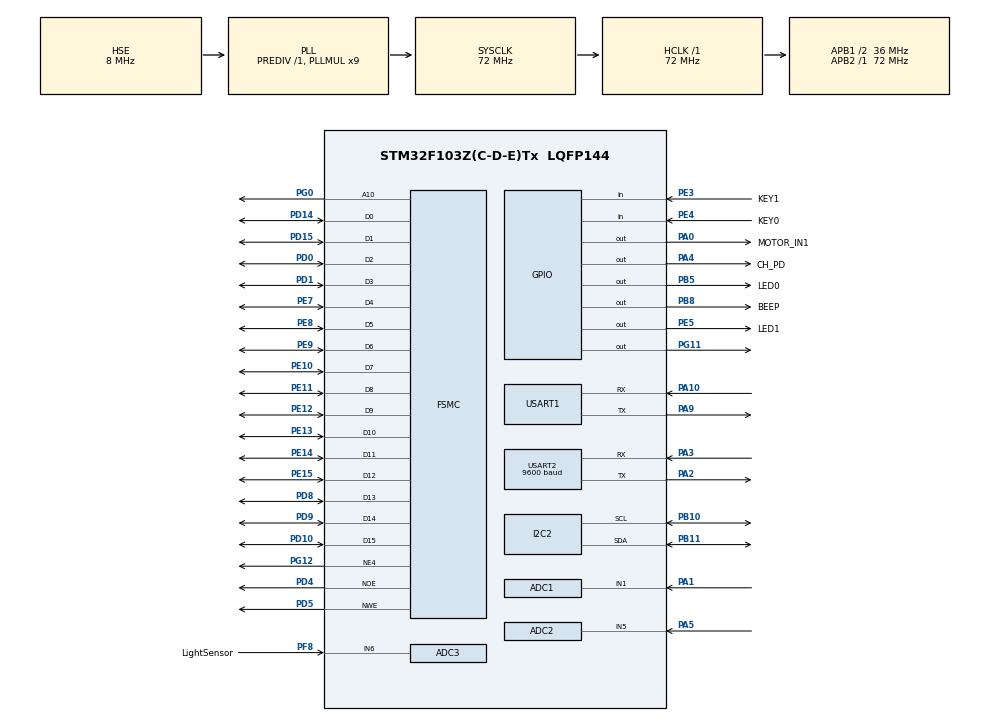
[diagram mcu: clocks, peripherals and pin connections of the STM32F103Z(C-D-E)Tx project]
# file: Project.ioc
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ADC1.Channel-3\#ChannelRegularConversion=ADC_CHANNEL_1
ADC1.NbrOfConversionFlag=1
ADC1.Rank-3\#ChannelRegularConversion=1
ADC1.SamplingTime-3\#ChannelRegularConversion=ADC_SAMPLETIME_1CYCLE_5
ADC1.master=1
ADC2.Channel-3\#ChannelRegularConversion=ADC_CHANNEL_5
ADC2.NbrOfConversionFlag=1
ADC2.Rank-3\#ChannelRegularConversion=1
ADC2.SamplingTime-3\#ChannelRegularConversion=ADC_SAMPLETIME_1CYCLE_5
ADC3.Channel-0\#ChannelRegularConversion=ADC_CHANNEL_6
ADC3.ContinuousConvMode=DISABLE
ADC3.NbrOfConversionFlag=1
ADC3.Rank-0\#ChannelRegularConversion=1
ADC3.SamplingTime-0\#ChannelRegularConversion=ADC_SAMPLETIME_1CYCLE_5
FREERTOS.Tasks01=SensorTask,24,128,StartSensorTask,Default,NULL,Dynamic,NULL,NULL;TFTLCDTask,8,128,StartTFTLCDTask,Default,NULL,Dynamic,NULL,NULL;SendDataTask,8,128,StartSendDataTask,Default,NULL,Dynamic,NULL,NULL;MotorTask,8,128,StartMotorTask,Default,NULL,Dynamic,NULL,NULL
FREERTOS.configGENERATE_RUN_TIME_STATS=1
FREERTOS.configRECORD_STACK_HIGH_ADDRESS=1
FSMC.AddressSetupTime1=2
FSMC.BusTurnAroundDuration1=0
FSMC.DataSetupTime1=16
FSMC.ExtendedAddressSetupTime1=4
FSMC.ExtendedDataSetupTime1=9
FSMC.ExtendedMode1=FSMC_EXTENDED_MODE_ENABLE
Mcu.Family=STM32F1
Mcu.Name=STM32F103Z(C-D-E)Tx
Mcu.Package=LQFP144
NVIC.PriorityGroup=NVIC_PRIORITYGROUP_4
NVIC.TIM4_IRQn=true\:15\:0\:false\:false\:true\:false\:false\:true\:true
NVIC.TimeBase=TIM4_IRQn
NVIC.TimeBaseIP=TIM4
OSC_IN.Mode=HSE-External-Oscillator
OSC_IN.Signal=RCC_OSC_IN
OSC_OUT.Mode=HSE-External-Oscillator
OSC_OUT.Signal=RCC_OSC_OUT
PA0-WKUP.GPIO_Label=MOTOR_IN1
PA0-WKUP.Signal=GPIO_Output
PA1.Signal=SharedAnalog_PA1
PA10.Mode=Asynchronous
PA10.Signal=USART1_RX
PA13.Mode=Serial_Wire
PA13.Signal=SYS_JTMS-SWDIO
PA14.Mode=Serial_Wire
PA14.Signal=SYS_JTCK-SWCLK
PA2.Mode=Asynchronous
PA2.Signal=USART2_TX
PA3.Mode=Asynchronous
PA3.Signal=USART2_RX
PA4.GPIO_Label=CH_PD
PA4.GPIO_Speed=GPIO_SPEED_FREQ_HIGH
PA4.PinState=GPIO_PIN_SET
PA4.Signal=GPIO_Output
PA5.Signal=SharedAnalog_PA5
PA9.Mode=Asynchronous
PA9.Signal=USART1_TX
PB10.Mode=I2C
PB10.Signal=I2C2_SCL
PB11.Mode=I2C
PB11.Signal=I2C2_SDA
PB5.GPIO_Label=LED0
PB5.Signal=GPIO_Output
PB8.GPIO_Label=BEEP
PB8.Signal=GPIO_Output
PD0.Signal=FSMC_D2_DA2
PD1.Signal=FSMC_D3_DA3
PD10.Signal=FSMC_D15_DA15
PD14.Signal=FSMC_D0_DA0
PD15.Signal=FSMC_D1_DA1
PD4.Signal=FSMC_NOE
PD5.Signal=FSMC_NWE
PD8.Signal=FSMC_D13_DA13
PD9.Signal=FSMC_D14_DA14
PE10.Signal=FSMC_D7_DA7
PE11.Signal=FSMC_D8_DA8
PE12.Signal=FSMC_D9_DA9
PE13.Signal=FSMC_D10_DA10
PE14.Signal=FSMC_D11_DA11
PE15.Signal=FSMC_D12_DA12
PE3.GPIO_Label=KEY1
PE3.GPIO_PuPd=GPIO_PULLUP
PE3.Signal=GPIO_Input
PE4.GPIO_Label=KEY0
PE4.GPIO_PuPd=GPIO_PULLUP
PE4.Signal=GPIO_Input
PE5.GPIO_Label=LED1
PE5.Signal=GPIO_Output
PE7.Signal=FSMC_D4_DA4
PE8.Signal=FSMC_D5_DA5
PE9.Signal=FSMC_D6_DA6
PF8.GPIO_Label=LightSensor
PF8.Mode=IN6
PF8.Signal=ADC3_IN6
PG0.Signal=FSMC_A10
PG11.Signal=GPIO_Output
PG12.Mode=NorPsramChipSelect4_1
PG12.Signal=FSMC_NE4
ProjectManager.HeapSize=0x200
ProjectManager.StackSize=0x400
ProjectManager.TargetToolchain=CMake
RCC.ADCPresc=RCC_ADCPCLK2_DIV6
RCC.AHBFreq_Value=72000000
RCC.APB1CLKDivider=RCC_HCLK_DIV2
RCC.APB1Freq_Value=36000000
RCC.APB1TimFreq_Value=72000000
RCC.APB2Freq_Value=72000000
RCC.APB2TimFreq_Value=72000000
RCC.HCLKFreq_Value=72000000
RCC.PLLMUL=RCC_PLL_MUL9
RCC.PLLSourceVirtual=RCC_PLLSOURCE_HSE
RCC.SYSCLKFreq_VALUE=72000000
RCC.SYSCLKSource=RCC_SYSCLKSOURCE_PLLCLK
RCC.USBFreq_Value=72000000
SH.FSMC_A10.0=FSMC_A10,A10_1
SH.FSMC_D0_DA0.0=FSMC_D0,16b-d1
SH.FSMC_D10_DA10.0=FSMC_D10,16b-d1
SH.FSMC_D11_DA11.0=FSMC_D11,16b-d1
SH.FSMC_D12_DA12.0=FSMC_D12,16b-d1
SH.FSMC_D13_DA13.0=FSMC_D13,16b-d1
SH.FSMC_D14_DA14.0=FSMC_D14,16b-d1
SH.FSMC_D15_DA15.0=FSMC_D15,16b-d1
SH.FSMC_D1_DA1.0=FSMC_D1,16b-d1
SH.FSMC_D2_DA2.0=FSMC_D2,16b-d1
SH.FSMC_D3_DA3.0=FSMC_D3,16b-d1
SH.FSMC_D4_DA4.0=FSMC_D4,16b-d1
SH.FSMC_D5_DA5.0=FSMC_D5,16b-d1
SH.FSMC_D6_DA6.0=FSMC_D6,16b-d1
SH.FSMC_D7_DA7.0=FSMC_D7,16b-d1
SH.FSMC_D8_DA8.0=FSMC_D8,16b-d1
SH.FSMC_D9_DA9.0=FSMC_D9,16b-d1
SH.FSMC_NOE.0=FSMC_NOE,Lcd1
SH.FSMC_NWE.0=FSMC_NWE,Lcd1
SH.SharedAnalog_PA1.0=GPIO_Analog
SH.SharedAnalog_PA1.1=ADC1_IN1,IN1
SH.SharedAnalog_PA5.0=GPIO_Analog
SH.SharedAnalog_PA5.1=ADC2_IN5,IN5
USART1.VirtualMode=VM_ASYNC
USART2.BaudRate=9600
USART2.VirtualMode=VM_ASYNC
VP_FREERTOS_VS_CMSIS_V2.Mode=CMSIS_V2
VP_SYS_VS_tim4.Mode=TIM4
board=custom

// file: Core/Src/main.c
/* USER CODE BEGIN Header */
/**
  ******************************************************************************
  * @file           : main.c
  * @brief          : Main program body
  ******************************************************************************
  * @attention
  *
  * Copyright (c) 2026 STMicroelectronics.
  * All rights reserved.
  *
  * This software is licensed under terms that can be found in the LICENSE file
  * in the root directory of this software component.
  * If no LICENSE file comes with this software, it is provided AS-IS.
  *
  ******************************************************************************
  */
/* USER CODE END Header */
#include "main.h"
#include "cmsis_os.h"
#include "adc.h"
#include "i2c.h"
#include "usart.h"
#include "gpio.h"
#include "fsmc.h"

/* USER CODE BEGIN Includes */
#include <string.h>
#include "aht20.h"
#include "tftlcd.h"

/* USER CODE END Includes */

void SystemClock_Config(void);
void MX_FREERTOS_Init(void);
/* USER CODE BEGIN PFP */

HAL_StatusTypeDef ESP8266_SendCmd(char *cmd, char *resp, uint32_t timeout_ms);
void ESP8266_Reconnect_VOFA(void);

/* USER CODE END PFP */

int main(void)
{

  /* MCU Configuration--------------------------------------------------------*/

  /* Reset of all peripherals, Initializes the Flash interface and the Systick. */
  HAL_Init();

  /* Configure the system clock */
  SystemClock_Config();

  /* Initialize all configured peripherals */
  MX_GPIO_Init();
  MX_FSMC_Init();
  MX_USART1_UART_Init();
  MX_ADC1_Init();
  MX_ADC3_Init();
  MX_USART2_UART_Init();
  MX_ADC2_Init();
  MX_I2C2_Init();
  /* USER CODE BEGIN 2 */
  TFTLCD_Init();
  FRONT_COLOR = RED;   // 前景色为红色
  BACK_COLOR = WHITE;  // 背景色为白色

  //HAL_GPIO_WritePin(CH_PD_GPIO_Port, CH_PD_Pin, GPIO_PIN_SET); // 拉高使能
  // HAL_Delay(300); // 等待 ESP8266 启动
  // ESP8266_Reconnect_VOFA();// 连接到 VOFA+ 服务器

  /* USER CODE END 2 */

  /* Init scheduler */
  osKernelInitialize();  /* Call init function for freertos objects (in cmsis_os2.c) */
  MX_FREERTOS_Init();

  /* Start scheduler */
  osKernelStart();

  /* We should never get here as control is now taken by the scheduler */

  /* Infinite loop */
  while (1)
  {

  }
}

void SystemClock_Config(void)
{
  RCC_OscInitTypeDef RCC_OscInitStruct = {0};
  RCC_ClkInitTypeDef RCC_ClkInitStruct = {0};
  RCC_PeriphCLKInitTypeDef PeriphClkInit = {0};

  /** Initializes the RCC Oscillators according to the specified parameters
  * in the RCC_OscInitTypeDef structure.
  */
  RCC_OscInitStruct.OscillatorType = RCC_OSCILLATORTYPE_HSE;
  RCC_OscInitStruct.HSEState = RCC_HSE_ON;
  RCC_OscInitStruct.HSEPredivValue = RCC_HSE_PREDIV_DIV1;
  RCC_OscInitStruct.HSIState = RCC_HSI_ON;
  RCC_OscInitStruct.PLL.PLLState = RCC_PLL_ON;
  RCC_OscInitStruct.PLL.PLLSource = RCC_PLLSOURCE_HSE;
  RCC_OscInitStruct.PLL.PLLMUL = RCC_PLL_MUL9;
  if (HAL_RCC_OscConfig(&RCC_OscInitStruct) != HAL_OK)
  {
    Error_Handler();
  }

  /** Initializes the CPU, AHB and APB buses clocks
  */
  RCC_ClkInitStruct.ClockType = RCC_CLOCKTYPE_HCLK|RCC_CLOCKTYPE_SYSCLK
                              |RCC_CLOCKTYPE_PCLK1|RCC_CLOCKTYPE_PCLK2;
  RCC_ClkInitStruct.SYSCLKSource = RCC_SYSCLKSOURCE_PLLCLK;
  RCC_ClkInitStruct.AHBCLKDivider = RCC_SYSCLK_DIV1;
  RCC_ClkInitStruct.APB1CLKDivider = RCC_HCLK_DIV2;
  RCC_ClkInitStruct.APB2CLKDivider = RCC_HCLK_DIV1;

  if (HAL_RCC_ClockConfig(&RCC_ClkInitStruct, FLASH_LATENCY_2) != HAL_OK)
  {
    Error_Handler();
  }
  PeriphClkInit.PeriphClockSelection = RCC_PERIPHCLK_ADC;
  PeriphClkInit.AdcClockSelection = RCC_ADCPCLK2_DIV6;
  if (HAL_RCCEx_PeriphCLKConfig(&PeriphClkInit) != HAL_OK)
  {
    Error_Handler();
  }
}

/* USER CODE BEGIN 4 */

HAL_StatusTypeDef ESP8266_SendCmd(char *cmd, char *resp, uint32_t timeout_ms) {
  // 清空接收缓冲区
  uint8_t dummy;
  while (HAL_UART_Receive(&huart2, &dummy, 1, 1) == HAL_OK);

  // 发送命令
  HAL_UART_Transmit(&huart1, (uint8_t*)cmd, strlen(cmd), 1000);
  if (HAL_UART_Transmit(&huart2, (uint8_t*)cmd, strlen(cmd), HAL_MAX_DELAY)==HAL_OK)
    {
    LCD_ShowString(10, 400, 200, 30, 16, (u8*)"Sendsuccess");
    }

  HAL_Delay(200); // 增加延时

  // 接收响应
  uint8_t rx_buf[256] = {0};//sizeof(rx_buf)-1
  if (HAL_UART_Receive(&huart2, rx_buf,2 , HAL_MAX_DELAY) == HAL_OK) {
    // 显示实际收到的内容（用于调试）
    LCD_Fill(10, 270, 300, 290, WHITE);  // 清除区域
    LCD_ShowString(10, 270, 200, 20, 12, rx_buf);

    if (resp && strstr((char*)rx_buf, resp)) {
      return HAL_OK;
    }
  }
  return HAL_ERROR;
}

void ESP8266_Reconnect_VOFA(void) {
  LCD_ShowString(10, 30, 300, 20, 16, (u8*)"ESP INIT...");

  // 1. 检查串口连接
  LCD_ShowString(10, 50, 300, 20, 16, (u8*)"TEST UART...");
  if (ESP8266_SendCmd("AT\r\n", "OK", 1000) == HAL_OK) {
    LCD_ShowString(10, 70, 300, 20, 16, (u8*)"UART OK!");
    goto continue_config;  // 如果串口正常，直接配置
  }

  LCD_ShowString(10, 70, 300, 20, 16, (u8*)"UART FAIL");

  // 2. 硬件重启 ESP8266
  LCD_ShowString(10, 90, 300, 20, 16, (u8*)"RESETTING...");

  // 拉低 CH_PD 重启
  HAL_GPIO_WritePin(CH_PD_GPIO_Port, CH_PD_Pin, GPIO_PIN_RESET);
  HAL_Delay(1000);  // 保持低电平
  HAL_GPIO_WritePin(CH_PD_GPIO_Port, CH_PD_Pin, GPIO_PIN_SET);
  HAL_Delay(3000);  // 等待启动（增加等待时间）

  // 3. 再次测试 AT 命令
  if (ESP8266_SendCmd("AT\r\n", "OK", 2000) == HAL_OK) {
    LCD_ShowString(10, 110, 300, 20, 16, (u8*)"RESET OK!");
  } else {
    LCD_ShowString(10, 110, 300, 20, 16, (u8*)"HARDWARE ERROR!");
    LCD_ShowString(10, 130, 300, 20, 16, (u8*)"CHECK WIRING!");
    return;
  }

continue_config:
  // 4. 设置为 STA 模式
  LCD_ShowString(10, 130, 300, 20, 16, (u8*)"SET STA MODE...");
  if (ESP8266_SendCmd("AT+CWMODE=1\r\n", "OK", 1000) != HAL_OK) {
    LCD_ShowString(10, 150, 300, 20, 16, (u8*)"CWMODE FAIL");
    return;
  }

  // 5. 连接 WiFi
  LCD_ShowString(10, 150, 300, 20, 16, (u8*)"CONNECT WIFI...");
  if (ESP8266_SendCmd("AT+CWJAP=\"uva\",\"12345678\"\r\n", "WIFI GOT IP", 10000) != HAL_OK) {
    LCD_ShowString(10, 170, 300, 20, 16, (u8*)"WIFI FAIL");
    return;
  }

  // 6. TCP 连接
  LCD_ShowString(10, 170, 300, 20, 16, (u8*)"TCP CONNECT...");
  if (ESP8266_SendCmd("AT+CIPSTART=\"TCP\",\"192.168.94.154\",8888\r\n", "CONNECT", 5000) != HAL_OK) {
    LCD_ShowString(10, 190, 300, 20, 16, (u8*)"TCP FAIL");
    return;
  }

  // 7. 进入透传模式
  LCD_ShowString(10, 190, 300, 20, 16, (u8*)"ENTER TRANSMIT...");
  if (ESP8266_SendCmd("AT+CIPMODE=1\r\n", "OK", 1000) != HAL_OK) {
    LCD_ShowString(10, 210, 300, 20, 16, (u8*)"CIPMODE FAIL");
    return;
  }

  if (ESP8266_SendCmd("AT+CIPSEND\r\n", ">", 1000) != HAL_OK) {
    LCD_ShowString(10, 230, 300, 20, 16, (u8*)"CIPSEND FAIL");
    return;
  }

  LCD_ShowString(10, 250, 300, 20, 16, (u8*)"ESP OK!");
}

/* USER CODE END 4 */

void HAL_TIM_PeriodElapsedCallback(TIM_HandleTypeDef *htim)
{
  if (htim->Instance == TIM4)
  {
    HAL_IncTick();
  }
}

void Error_Handler(void)
{
  __disable_irq();
  while (1)
  {
  }
}

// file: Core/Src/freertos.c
/* USER CODE BEGIN Header */
/**
  ******************************************************************************
  * File Name          : freertos.c
  * Description        : Code for freertos applications
  ******************************************************************************
  * @attention
  *
  * Copyright (c) 2026 STMicroelectronics.
  * All rights reserved.
  *
  * This software is licensed under terms that can be found in the LICENSE file
  * in the root directory of this software component.
  * If no LICENSE file comes with this software, it is provided AS-IS.
  *
  ******************************************************************************
  */
/* USER CODE END Header */

#include "FreeRTOS.h"
#include "task.h"
#include "main.h"
#include "cmsis_os.h"

/* USER CODE BEGIN Includes */
#include <stdio.h>
#include <stdlib.h>
#include <string.h>

#include "adc.h"
#include "usart.h"
#include "tftlcd.h"
#include "aht20.h"

/* USER CODE END Includes */

/* USER CODE BEGIN PD */

uint8_t temp_ready=0;
uint8_t light_ready=0;
uint8_t solim_ready=0;
uint8_t air_ready=0;

uint8_t key0_flag=0;
uint8_t key1_flag=0;
Sensor sensordata;

/* USER CODE END PD */

/* Definitions for SensorTask */
osThreadId_t SensorTaskHandle;
const osThreadAttr_t SensorTask_attributes = {
  .name = "SensorTask",
  .stack_size = 128 * 4,
  .priority = (osPriority_t) osPriorityNormal,
};
/* Definitions for TFTLCDTask */
osThreadId_t TFTLCDTaskHandle;
const osThreadAttr_t TFTLCDTask_attributes = {
  .name = "TFTLCDTask",
  .stack_size = 128 * 4,
  .priority = (osPriority_t) osPriorityLow,
};
/* Definitions for SendDataTask */
osThreadId_t SendDataTaskHandle;
const osThreadAttr_t SendDataTask_attributes = {
  .name = "SendDataTask",
  .stack_size = 128 * 4,
  .priority = (osPriority_t) osPriorityLow,
};
/* Definitions for MotorTask */
osThreadId_t MotorTaskHandle;
const osThreadAttr_t MotorTask_attributes = {
  .name = "MotorTask",
  .stack_size = 128 * 4,
  .priority = (osPriority_t) osPriorityLow,
};

/* USER CODE BEGIN FunctionPrototypes */
void KEY_SCAN();
/* USER CODE END FunctionPrototypes */

void StartSensorTask(void *argument);
void StartTFTLCDTask(void *argument);
void StartSendDataTask(void *argument);
void StartMotorTask(void *argument);

void MX_FREERTOS_Init(void); /* (MISRA C 2004 rule 8.1) */

/* Hook prototypes */
void configureTimerForRunTimeStats(void);
unsigned long getRunTimeCounterValue(void);

/* USER CODE BEGIN 1 */
/* Functions needed when configGENERATE_RUN_TIME_STATS is on */
__weak void configureTimerForRunTimeStats(void)
{

}

__weak unsigned long getRunTimeCounterValue(void)
{
return 0;
}
/* USER CODE END 1 */

void MX_FREERTOS_Init(void) {

  /* Create the thread(s) */
  /* creation of SensorTask */
  SensorTaskHandle = osThreadNew(StartSensorTask, NULL, &SensorTask_attributes);

  /* creation of TFTLCDTask */
  TFTLCDTaskHandle = osThreadNew(StartTFTLCDTask, NULL, &TFTLCDTask_attributes);

  /* creation of SendDataTask */
  SendDataTaskHandle = osThreadNew(StartSendDataTask, NULL, &SendDataTask_attributes);

  /* creation of MotorTask */
  MotorTaskHandle = osThreadNew(StartMotorTask, NULL, &MotorTask_attributes);

}

void StartSensorTask(void *argument)
{
  /* USER CODE BEGIN StartSensorTask */
  /* Infinite loop */
  static uint8_t aht20_initialized = 0;
  AHT20_StatusTypeDef aht20_status;
  AHT20_DataTypeDef aht20_data;

  /* Infinite loop */

  if (HAL_ADCEx_Calibration_Start(&hadc1)!=HAL_OK)
  {
    Error_Handler();
  }
  if (HAL_ADCEx_Calibration_Start(&hadc2)!=HAL_OK)
  {
    Error_Handler();
  }
  if (HAL_ADCEx_Calibration_Start(&hadc3)!=HAL_OK)
  {
    Error_Handler();
  }

  for(;;)
  {

    if (HAL_ADC_Start(&hadc1)!=HAL_OK)
    {Error_Handler();}
    if (HAL_ADC_Start(&hadc2)!=HAL_OK)
    {Error_Handler();}
    if (HAL_ADC_Start(&hadc3)!=HAL_OK)
    {Error_Handler();}

    if (HAL_ADC_PollForConversion(&hadc1,500)==HAL_OK)
    {
      sensordata.raw_temp=HAL_ADC_GetValue(&hadc1); //获取ADC值
      sensordata.temp_voltage=sensordata.raw_temp*3.3/4095.0*1000; //计算电压值，单位mv
      sensordata.Temperature = (uint32_t)(Calculate_NTC_Temperature(sensordata.raw_temp) * 100); //计算温度值，单位摄氏度
      temp_ready=1;
    }
    else
    {Error_Handler();}

    //读取土壤湿度传感器数据
    if (HAL_ADC_PollForConversion(&hadc2,500)==HAL_OK)
    {
      sensordata.raw_soilm=HAL_ADC_GetValue(&hadc2); //获取ADC值
      sensordata.soilm_voltage=sensordata.raw_soilm*3.3/4095.0*1000; //计算电压值，单位mv
      sensordata.SoilMoisture = (uint32_t)(Calculate_Soil_Moisture(sensordata.raw_soilm) * 100); //计算土壤湿度
      solim_ready=1;
    }
    else
    {Error_Handler();}

    //读取光照传感器数据

    if (HAL_ADC_PollForConversion(&hadc3,500)==HAL_OK)
    {
      sensordata.raw_light=HAL_ADC_GetValue(&hadc3); //获取ADC值
      sensordata.light_voltage=sensordata.raw_light*3.3/4095.0*1000; //计算电压值，单位mv
      sensordata.Illumination = (uint32_t)(Calculate_Light_Intensity(sensordata.raw_light) * 100); //计算温度值，单位摄氏度
      light_ready=1;
    }
    else
    {Error_Handler();}

    if (!aht20_initialized) {
      // 尝试初始化 AHT20
      aht20_status = AHT20_Init();
      if (aht20_status == AHT20_OK) {
        aht20_initialized = 1; // 标记为已初始化
      } else {
        // 初始化失败，可以选择重试或记录错误
        // 这里简单地将数据置0并标记就绪，以便上层处理
        sensordata.AirTemperature = 0;
        sensordata.AirHumidity = 0;
        air_ready = 1;
      }
    }

    if (aht20_initialized) {
      // 触发测量
      aht20_status = AHT20_TriggerMeasurement();
      if (aht20_status == AHT20_OK) {
        osDelay(80); // 等待至少75ms让测量完成
        // 读取数据
        aht20_status = AHT20_ReadData(&aht20_data);
        if (aht20_status == AHT20_OK) {
          // 将 float 数据转换为 uint32_t (*100)，与其他传感器格式统一
          sensordata.AirTemperature = (uint32_t)(aht20_data.temperature * 100.0f);
          sensordata.AirHumidity = (uint32_t)(aht20_data.humidity * 100.0f);
          air_ready = 1; // 标记数据已就绪
        } else {
          // 读取失败，可以保留上次值或置0
          // 这里选择置0
          sensordata.AirTemperature = 0;
          sensordata.AirHumidity = 0;
          air_ready = 1;
        }
      } else {
        // 触发测量失败
        sensordata.AirTemperature = 0;
        sensordata.AirHumidity = 0;
        air_ready = 1;
      }
    }

    osDelay(300);
  }

  /* USER CODE END StartSensorTask */
}

void StartTFTLCDTask(void *argument)
{
  /* USER CODE BEGIN StartTFTLCDTask */
  static char message[50]={};
  uint32_t temp_tick=osKernelGetTickCount();
  /* Infinite loop */
  for(;;)
  {
    temp_tick+=50;
    // 使用的是 STM32 的标准库（非 CMSIS 或 FPU 支持），而 sprintf() 不支持浮点数！
    // 在没有启用 FPU（浮点单元）的 STM32 上，标准 printf / sprintf 默认不支持 %f 格式符！

    //显示温度传感器数据
    sprintf(message, "Raw_temp:%lu mV\r\n", sensordata.raw_temp);
    LCD_ShowString(10,10,300, 30, 16, (u8*)message);

    sprintf(message, "Temp_voltage:%lu mV\r\n", sensordata.temp_voltage);
    LCD_ShowString(10,30,300, 30, 16, (u8*)message);

    sprintf(message, "Temperature:%ld.%02ld C\r\n",
    sensordata.Temperature / 100, abs(sensordata.Temperature % 100));
    LCD_ShowString(10,50,300, 30, 16, (u8*)message);

    //显示土壤湿度传感器数据
    sprintf(message, "Raw_soilm:%lu mV\r\n", sensordata.raw_soilm);
    LCD_ShowString(10,70,300, 30, 16, (u8*)message);

    sprintf(message, "Raw_soilm:%lu mV\r\n", sensordata.soilm_voltage);
    LCD_ShowString(10,90,300, 30, 16, (u8*)message);

    sprintf(message, "Soil_Moisture:%ld \r\n",
        sensordata.SoilMoisture / 100);
    LCD_ShowString(10,110,300, 30, 16, (u8*)message);

    // 65~95 湿润
    //>95 过于湿润
    //<65 干燥
    if (sensordata.SoilMoisture / 100 <65)
    {
      LCD_ShowString(10, 250, 300, 20, 16, (u8*)"Soil is Dry   ");
    }
    else if (sensordata.SoilMoisture / 100 >95)
    {
      LCD_ShowString(10, 250, 300, 20, 16, (u8*)"Soil is Wet   ");
    }
    else
    {
      LCD_ShowString(10, 250, 300, 20, 16, (u8*)"Soil is Humid ");
    }

    //显示光照传感器数据
    sprintf(message, "Raw_light:%lu mV\r\n", sensordata.raw_light);
    LCD_ShowString(10,130,300, 30, 16, (u8*)message);

    sprintf(message, "Light_voltage:%lu mV\r\n", sensordata.light_voltage);
    LCD_ShowString(10,150,300, 30, 16, (u8*)message);
    sprintf(message, "Illumination:%ld.%02ld Lux\r\n",
            sensordata.Illumination / 100, abs(sensordata.Illumination % 100));

    LCD_ShowString(10,170,300, 30, 16, (u8*)message);

    sprintf(message, "Air_Temp:%ld.%02ld C\r\n", sensordata.AirTemperature / 100, abs(sensordata.AirTemperature % 100));
    LCD_ShowString(10, 190, 300, 30, 16, (u8*)message);

    sprintf(message, "Air_Humi:%ld.%02ld %%\r\n", sensordata.AirHumidity / 100, abs(sensordata.AirHumidity % 100));
    LCD_ShowString(10, 210, 300, 30, 16, (u8*)message);

    osDelayUntil(temp_tick);
    //osDelay(100);
  }
  /* USER CODE END StartTFTLCDTask */
}

void StartSendDataTask(void *argument)
{
  /* USER CODE BEGIN StartSendDataTask */
  static char message[50]={};
  /* Infinite loop */
  for(;;)
  {
    if (temp_ready) {
      //传输原始温度数据
      sprintf(message, "Raw_temp:%lu mV\r\n", sensordata.raw_temp);
      HAL_UART_Transmit(&huart2, (uint8_t*)message, strlen(message), 1000);
      //传输温度传感器电压数据
      sprintf(message, "Temp_voltage:%lu mV\r\n", sensordata.temp_voltage);
      HAL_UART_Transmit(&huart2, (uint8_t*)message, strlen(message), 1000);
      //传输计算后的温度数据
      sprintf(message, "Temperature:%ld.%02ld C\r\n",
    sensordata.Temperature / 100, abs(sensordata.Temperature % 100));
      HAL_UART_Transmit(&huart1, (uint8_t*)message, strlen(message), 1000);
      HAL_UART_Transmit(&huart2, (uint8_t*)message, strlen(message), 1000);

      temp_ready = 0;
    }
    // 65~95 湿润
    //>95 过于湿润
    //<65 干燥
    if (solim_ready) {
      //传输原始土壤湿度数据
      sprintf(message, "Raw_soilm:%lu mV\r\n", sensordata.raw_soilm);
      HAL_UART_Transmit(&huart2, (uint8_t*)message, strlen(message), 1000);
      //传输土壤湿度传感器电压数据
      sprintf(message, "Soilm_voltage:%lu mV\r\n", sensordata.soilm_voltage);
      HAL_UART_Transmit(&huart2, (uint8_t*)message, strlen(message), 1000);
      //传输计算后的土壤湿度数据
      sprintf(message, "Soil_Moisture:%ld \r\n",
          sensordata.SoilMoisture / 100);
      HAL_UART_Transmit(&huart1, (uint8_t*)message, strlen(message), 1000);
      HAL_UART_Transmit(&huart2, (uint8_t*)message, strlen(message), 1000);
      solim_ready = 0;
    }

    if (light_ready) {
      //传输原始光照数据
      sprintf(message, "Raw_light:%lu mV\r\n", sensordata.raw_light);
      HAL_UART_Transmit(&huart2, (uint8_t*)message, strlen(message), 1000);
      //传输光照传感器电压数据
      sprintf(message, "Light_voltage:%lu mV\r\n", sensordata.light_voltage);
      HAL_UART_Transmit(&huart2, (uint8_t*)message, strlen(message), 1000);
      //传输计算后的光照数据
      sprintf(message, "Illumination:%ld.%02ld Lux\r\n",
          sensordata.Illumination / 100, abs(sensordata.Illumination % 100));
      HAL_UART_Transmit(&huart1, (uint8_t*)message, strlen(message), 1000);
      HAL_UART_Transmit(&huart2, (uint8_t*)message, strlen(message), 1000);
      light_ready = 0;
    }

    if (air_ready) {
      sprintf(message, "Air_Temperature:%ld.%02ld C\r\n", sensordata.AirTemperature / 100, abs(sensordata.AirTemperature % 100));
      HAL_UART_Transmit(&huart1, (uint8_t*)message, strlen(message), 1000);
      HAL_UART_Transmit(&huart2, (uint8_t*)message, strlen(message), 1000);

      sprintf(message, "Air_Humidity:%ld.%02ld %%\r\n", sensordata.AirHumidity / 100, abs(sensordata.AirHumidity % 100));
      HAL_UART_Transmit(&huart1, (uint8_t*)message, strlen(message), 1000);
      HAL_UART_Transmit(&huart2, (uint8_t*)message, strlen(message), 1000);

      air_ready = 0; // 清除标志
    }

    osDelay(500);

  //   float vofa_data[2] = {
  //     sensordata.Temperature / 100.0f,
  //     sensordata.Illumination / 100.0f
  // };
  //
  //   HAL_UART_Transmit(&huart2, (uint8_t*)vofa_data, sizeof(vofa_data), 100);

  }
  /* USER CODE END StartSendDataTask */
}

void StartMotorTask(void *argument)
{
  /* USER CODE BEGIN StartMotorTask */
  /* Infinite loop */
  TickType_t last_wake_time;
  const TickType_t cycle_time = pdMS_TO_TICKS(3000); // 3秒周期

  // 初始化上次唤醒时间
  last_wake_time = xTaskGetTickCount();

  for(;;)
  {
    //KEY_SCAN();
    uint32_t soil_moisture = sensordata.SoilMoisture / 100; // 转换回整数百分比

    if (soil_moisture < 65)
    {
      // 土壤干燥：开启电机和蜂鸣器（持续3秒）
      HAL_GPIO_WritePin(MOTOR_IN1_GPIO_Port, MOTOR_IN1_Pin, GPIO_PIN_SET);
      HAL_GPIO_WritePin(BEEP_GPIO_Port, BEEP_Pin, GPIO_PIN_SET);
    }
    else
    {
      // 土壤湿润：关闭电机和蜂鸣器
      HAL_GPIO_WritePin(MOTOR_IN1_GPIO_Port, MOTOR_IN1_Pin, GPIO_PIN_RESET);
      HAL_GPIO_WritePin(BEEP_GPIO_Port, BEEP_Pin, GPIO_PIN_RESET);
    }

    // 每3秒检查一次土壤湿度并更新状态
    vTaskDelayUntil(&last_wake_time, cycle_time);
  }
  /* USER CODE END StartMotorTask */
}

/* USER CODE BEGIN Application */
void KEY_SCAN()
{
  if(HAL_GPIO_ReadPin(KEY0_GPIO_Port, KEY0_Pin) == GPIO_PIN_RESET)
  {
    HAL_Delay(10);  // 消抖
    while(HAL_GPIO_ReadPin(KEY0_GPIO_Port, KEY0_Pin) == GPIO_PIN_RESET);
    key0_flag = 1;
  }
  if(HAL_GPIO_ReadPin(KEY1_GPIO_Port, KEY1_Pin) == GPIO_PIN_RESET)
  {
    HAL_Delay(10);  // 消抖
    while(HAL_GPIO_ReadPin(KEY1_GPIO_Port, KEY1_Pin) == GPIO_PIN_RESET);
    key1_flag = 1;
  }

}
/* USER CODE END Application */
